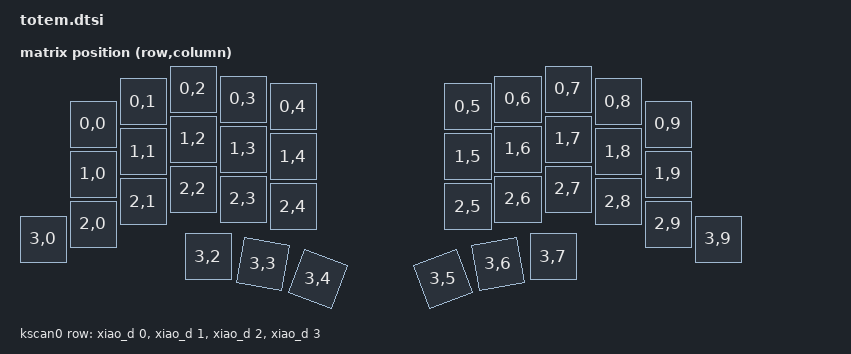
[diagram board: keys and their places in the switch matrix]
/*
 * Copyright (c) 2022 The ZMK Contributors
 *
 * SPDX-License-Identifier: MIT
 *
 * Vendored from GEIGEIGEIST/zmk-config-totem @ 8325195 (MIT). Changes for
 * ZMK main (Zephyr 4.1) + ZMK Studio: dropped the deprecated `label`
 * property, added `wakeup-source`, and added a physical layout (Studio
 * requires `zmk,physical-layout`; it carries the matrix transform, so the
 * old `zmk,matrix_transform` chosen is gone).
 */

#include <dt-bindings/zmk/matrix_transform.h>
#include <physical_layouts.dtsi>

/ {
    chosen {
        zmk,kscan = &kscan0;
        zmk,physical-layout = &totem_physical_layout;
    };

    default_transform: keymap_transform_0 {
        compatible = "zmk,matrix-transform";
        columns = <10>;
        rows = <4>;
//             | SW01  | SW02  | SW03  | SW04  | SW05  |  | SW05  | SW04  | SW03  | SW02  | SW01  |
//             | SW06  | SW07  | SW08  | SW09  | SW10  |  | SW10  | SW09  | SW08  | SW07  | SW06  |
//      | SW16 | SW11  | SW12  | SW13  | SW14  | SW15  |  | SW15  | SW14  | SW13  | SW12  | SW11  | SW16  |
//                             | SW17  | SW18  | SW19  |  | SW19  | SW18  | SW17  |
        map = <
                RC(0,0) RC(0,1) RC(0,2) RC(0,3) RC(0,4)    RC(0,5) RC(0,6) RC(0,7) RC(0,8) RC(0,9)
                RC(1,0) RC(1,1) RC(1,2) RC(1,3) RC(1,4)    RC(1,5) RC(1,6) RC(1,7) RC(1,8) RC(1,9)
        RC(3,0) RC(2,0) RC(2,1) RC(2,2) RC(2,3) RC(2,4)    RC(2,5) RC(2,6) RC(2,7) RC(2,8) RC(2,9) RC(3,9)
                                RC(3,2) RC(3,3) RC(3,4)    RC(3,5) RC(3,6) RC(3,7)
        >;
    };

    /* Studio geometry, same key order as the transform map (38 keys).
     * Approximate: column stagger and thumb splay eyeballed from the TOTEM
     * layout image, not measured. Wrong geometry only changes how Studio
     * draws the board; bindings are unaffected. */
    totem_physical_layout: totem_physical_layout {
        compatible = "zmk,physical-layout";
        display-name = "TOTEM";
        transform = <&default_transform>;

        keys  //                     w   h    x    y     rot    rx    ry
            = <&key_physical_attrs 100 100  100   70       0     0     0>
            , <&key_physical_attrs 100 100  200   25       0     0     0>
            , <&key_physical_attrs 100 100  300    0       0     0     0>
            , <&key_physical_attrs 100 100  400   20       0     0     0>
            , <&key_physical_attrs 100 100  500   35       0     0     0>
            , <&key_physical_attrs 100 100  850   35       0     0     0>
            , <&key_physical_attrs 100 100  950   20       0     0     0>
            , <&key_physical_attrs 100 100 1050    0       0     0     0>
            , <&key_physical_attrs 100 100 1150   25       0     0     0>
            , <&key_physical_attrs 100 100 1250   70       0     0     0>
            , <&key_physical_attrs 100 100  100  170       0     0     0>
            , <&key_physical_attrs 100 100  200  125       0     0     0>
            , <&key_physical_attrs 100 100  300  100       0     0     0>
            , <&key_physical_attrs 100 100  400  120       0     0     0>
            , <&key_physical_attrs 100 100  500  135       0     0     0>
            , <&key_physical_attrs 100 100  850  135       0     0     0>
            , <&key_physical_attrs 100 100  950  120       0     0     0>
            , <&key_physical_attrs 100 100 1050  100       0     0     0>
            , <&key_physical_attrs 100 100 1150  125       0     0     0>
            , <&key_physical_attrs 100 100 1250  170       0     0     0>
            , <&key_physical_attrs 100 100    0  300       0     0     0>
            , <&key_physical_attrs 100 100  100  270       0     0     0>
            , <&key_physical_attrs 100 100  200  225       0     0     0>
            , <&key_physical_attrs 100 100  300  200       0     0     0>
            , <&key_physical_attrs 100 100  400  220       0     0     0>
            , <&key_physical_attrs 100 100  500  235       0     0     0>
            , <&key_physical_attrs 100 100  850  235       0     0     0>
            , <&key_physical_attrs 100 100  950  220       0     0     0>
            , <&key_physical_attrs 100 100 1050  200       0     0     0>
            , <&key_physical_attrs 100 100 1150  225       0     0     0>
            , <&key_physical_attrs 100 100 1250  270       0     0     0>
            , <&key_physical_attrs 100 100 1350  300       0     0     0>
            , <&key_physical_attrs 100 100  330  335       0     0     0>
            , <&key_physical_attrs 100 100  440  350    1000   490   400>
            , <&key_physical_attrs 100 100  550  380    2000   600   430>
            , <&key_physical_attrs 100 100  800  380 (-2000)   850   430>
            , <&key_physical_attrs 100 100  910  350 (-1000)   960   400>
            , <&key_physical_attrs 100 100 1020  335       0     0     0>
            ;
    };

    kscan0: kscan_0 {
        compatible = "zmk,kscan-gpio-matrix";
        wakeup-source;

        diode-direction = "col2row";
        row-gpios
            = <&xiao_d 0 (GPIO_ACTIVE_HIGH | GPIO_PULL_DOWN)>
            , <&xiao_d 1 (GPIO_ACTIVE_HIGH | GPIO_PULL_DOWN)>
            , <&xiao_d 2 (GPIO_ACTIVE_HIGH | GPIO_PULL_DOWN)>
            , <&xiao_d 3 (GPIO_ACTIVE_HIGH | GPIO_PULL_DOWN)>
            ;
    };
};
